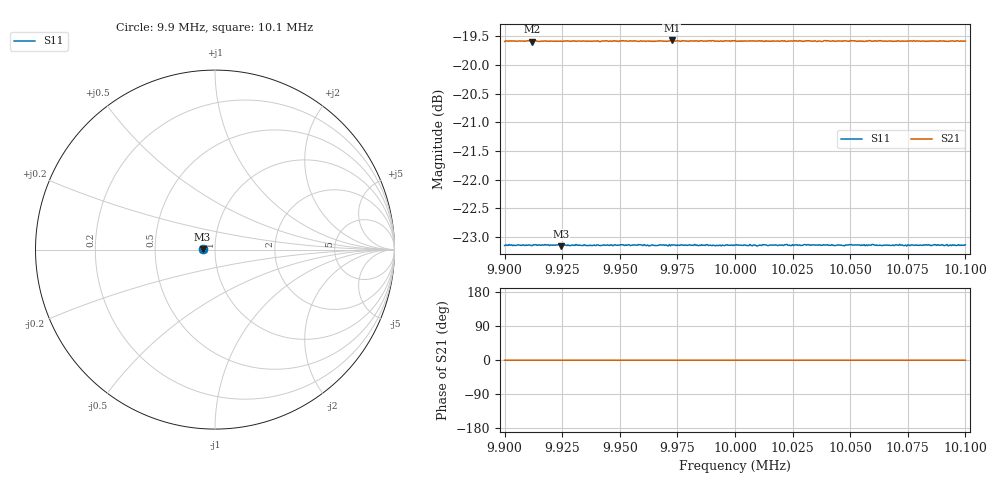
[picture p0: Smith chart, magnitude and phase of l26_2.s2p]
! NanoVNA-App
! Date: 2026-10-13 22:09:58
! Start: 9,9MHz Stop: 10,1MHz Points: 401
! S-Parameter data: F S11 S21 S12 S22
# Hz S RI R 50
!  Frequency  S11_Real  S11_Imag  S21_Real  S21_Imag  S12_Real  S12_Imag  S22_Real  S22_Imag
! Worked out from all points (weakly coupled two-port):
!   401 points, 9.9 MHz to 10.1 MHz, reference 50 ohm
!   highest |S21| = -19.58 dB at 9.9725 MHz (marker M1); lowest = -19.6 dB at 9.912 MHz (marker M2)
!   lowest |S11| = -23.2 dB at 9.9245 MHz (marker M3), VSWR 1.15, Z = 43.5 + j0.34 ohm
!   |S11| at or under -10 dB: start of sweep to end of sweep
!   S12 and S22 are empty: the file has one direction only
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9900000  -0.0695 0.00392  0.1048 -0.000952  0 0  0 0
9912000  -0.0695 0.00397  0.1047 -0.000945  0 0  0 0
9924500  -0.0694 0.00389  0.1049 -0.000962  0 0  0 0
9933500  -0.0695 0.00387  0.1049 -0.00104  0 0  0 0
9967000  -0.0696 0.00385  0.1049 -0.001  0 0  0 0
9972500  -0.0696 0.00389  0.105 -0.00103  0 0  0 0
9989500  -0.0695 0.00388  0.1049 -0.000968  0 0  0 0
9992000  -0.0695 0.0039  0.1049 -0.000954  0 0  0 0
1e7  -0.0696 0.00381  0.105 -0.000941  0 0  0 0
1.00105e7  -0.0696 0.00386  0.1049 -0.001  0 0  0 0
1.0013e7  -0.0696 0.00392  0.1048 -0.000955  0 0  0 0
1.00335e7  -0.0696 0.0039  0.1049 -0.000991  0 0  0 0
1.0047e7  -0.0695 0.00393  0.1049 -0.000953  0 0  0 0
1.00495e7  -0.0696 0.00388  0.1048 -0.000904  0 0  0 0
1.00575e7  -0.0695 0.00379  0.1049 -0.00094  0 0  0 0
1.00605e7  -0.0696 0.0038  0.1049 -0.000999  0 0  0 0
1.0067e7  -0.0695 0.00384  0.1049 -0.00106  0 0  0 0
1.00705e7  -0.0696 0.00389  0.1049 -0.000959  0 0  0 0
1.00735e7  -0.0695 0.00391  0.1049 -0.00103  0 0  0 0
1.0083e7  -0.0696 0.00382  0.1048 -0.00104  0 0  0 0
1.00935e7  -0.0696 0.00395  0.1049 -0.000951  0 0  0 0
1.01e7  -0.0696 0.00383  0.1049 -0.000983  0 0  0 0
